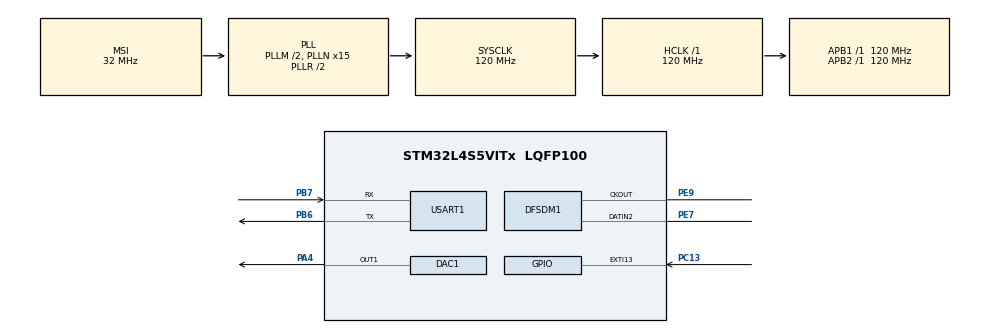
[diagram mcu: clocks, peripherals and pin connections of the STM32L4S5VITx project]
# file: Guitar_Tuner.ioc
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DAC1.DAC_Trigger-DAC_OUT1=DAC_TRIGGER_T2_TRGO
DFSDM1.Divider=20
DFSDM1.DmaMode_reg_FIL2=ENABLE
DFSDM1.FastMode_reg_FIL2=ENABLE
DFSDM1.Filter_regChannel_FIL2=DFSDM_CHANNEL_2
DFSDM1.Filter_regContinuousMode_FIL2=DFSDM_CONTINUOUS_CONV_ON
DFSDM1.Fosr_FIL2=64
DFSDM1.Offset_CH2=0
DFSDM1.RightBitShift_CH2=4
DFSDM1.Selection=DFSDM_CHANNEL_OUTPUT_CLOCK_AUDIO
DFSDM1.SincOrder_FIL2=DFSDM_FILTER_SINC4_ORDER
DFSDM1.Trigger_reg_FIL2=DFSDM_FILTER_SW_TRIGGER
DFSDM1.Type_spi_CH2=DFSDM_CHANNEL_SPI_FALLING
Dma.DAC1_CH1.0.Direction=DMA_MEMORY_TO_PERIPH
Dma.DAC1_CH1.0.EventEnable=DISABLE
Dma.DAC1_CH1.0.Instance=DMA1_Channel1
Dma.DAC1_CH1.0.MemDataAlignment=DMA_MDATAALIGN_WORD
Dma.DAC1_CH1.0.MemInc=DMA_MINC_ENABLE
Dma.DAC1_CH1.0.Mode=DMA_CIRCULAR
Dma.DAC1_CH1.0.PeriphDataAlignment=DMA_PDATAALIGN_HALFWORD
Dma.DAC1_CH1.0.PeriphInc=DMA_PINC_DISABLE
Dma.DAC1_CH1.0.Polarity=HAL_DMAMUX_REQUEST_GEN_RISING
Dma.DAC1_CH1.0.Priority=DMA_PRIORITY_HIGH
Dma.DAC1_CH1.0.RequestNumber=1
Dma.DAC1_CH1.0.SignalID=NONE
Dma.DAC1_CH1.0.SyncEnable=DISABLE
Dma.DAC1_CH1.0.SyncPolarity=HAL_DMAMUX_SYNC_NO_EVENT
Dma.DAC1_CH1.0.SyncRequestNumber=1
Dma.DAC1_CH1.0.SyncSignalID=NONE
Dma.DFSDM1_FLT2.1.Direction=DMA_PERIPH_TO_MEMORY
Dma.DFSDM1_FLT2.1.EventEnable=DISABLE
Dma.DFSDM1_FLT2.1.Instance=DMA1_Channel3
Dma.DFSDM1_FLT2.1.MemDataAlignment=DMA_MDATAALIGN_WORD
Dma.DFSDM1_FLT2.1.MemInc=DMA_MINC_ENABLE
Dma.DFSDM1_FLT2.1.Mode=DMA_NORMAL
Dma.DFSDM1_FLT2.1.PeriphDataAlignment=DMA_PDATAALIGN_WORD
Dma.DFSDM1_FLT2.1.PeriphInc=DMA_PINC_DISABLE
Dma.DFSDM1_FLT2.1.Polarity=HAL_DMAMUX_REQUEST_GEN_RISING
Dma.DFSDM1_FLT2.1.Priority=DMA_PRIORITY_HIGH
Dma.DFSDM1_FLT2.1.RequestNumber=1
Dma.DFSDM1_FLT2.1.SignalID=NONE
Dma.DFSDM1_FLT2.1.SyncEnable=DISABLE
Dma.DFSDM1_FLT2.1.SyncPolarity=HAL_DMAMUX_SYNC_NO_EVENT
Dma.DFSDM1_FLT2.1.SyncRequestNumber=1
Dma.DFSDM1_FLT2.1.SyncSignalID=NONE
Dma.Request0=DAC1_CH1
Dma.Request1=DFSDM1_FLT2
Mcu.Family=STM32L4
Mcu.Name=STM32L4S5VITx
Mcu.Package=LQFP100
NVIC.DFSDM1_FLT2_IRQn=true\:0\:0\:false\:false\:true\:true\:true\:true
NVIC.DMA1_Channel1_IRQn=true\:0\:0\:false\:false\:true\:false\:true\:true
NVIC.DMA1_Channel3_IRQn=true\:0\:0\:false\:false\:true\:false\:true\:true
NVIC.EXTI15_10_IRQn=true\:0\:0\:false\:false\:true\:true\:true\:true
NVIC.PriorityGroup=NVIC_PRIORITYGROUP_4
NVIC.TIM2_IRQn=true\:0\:0\:false\:false\:true\:true\:true\:true
PA4.Signal=COMP_DAC11_group
PB6.Mode=Asynchronous
PB6.Signal=USART1_TX
PB7.Mode=Asynchronous
PB7.Signal=USART1_RX
PC13.GPIO_ModeDefaultEXTI=GPIO_MODE_IT_RISING_FALLING
PC13.Signal=GPXTI13
PE7.Signal=S_DATAIN2DFSDM1
PE9.Signal=S_CKOUTDFSDM1
ProjectManager.HeapSize=0x200
ProjectManager.StackSize=0x400
ProjectManager.TargetToolchain=STM32CubeIDE
RCC.ADCCLockSelection=RCC_ADCCLKSOURCE_SYSCLK
RCC.ADCFreq_Value=120000000
RCC.AHBFreq_Value=120000000
RCC.APB1Freq_Value=120000000
RCC.APB1TimFreq_Value=120000000
RCC.APB2Freq_Value=120000000
RCC.APB2TimFreq_Value=120000000
RCC.CortexFreq_Value=120000000
RCC.DFSDMAudioCLockSelection=RCC_DFSDM1AUDIOCLKSOURCE_SAI1
RCC.HCLKFreq_Value=120000000
RCC.HSE_VALUE=8000000
RCC.HSI48_VALUE=48000000
RCC.HSI_VALUE=16000000
RCC.LSE_VALUE=32768
RCC.MSIClockRange=RCC_MSIRANGE_10
RCC.MSI_VALUE=32000000
RCC.PLLM1=2
RCC.PLLM2=2
RCC.PLLM3=5
RCC.PLLN=15
RCC.PLLSAI1N=15
RCC.PLLSAI2N=48
RCC.PLLSAI2P=RCC_PLLP_DIV5
RCC.SAI1CLockSelection=RCC_SAI1CLKSOURCE_PLLSAI2
RCC.SYSCLKFreq_VALUE=120000000
RCC.SYSCLKSource=RCC_SYSCLKSOURCE_PLLCLK
RCC.USBFreq_Value=120000000
RCC.VCOOutputFreq_Value=240000000
SH.COMP_DAC11_group.0=DAC1_OUT1,DAC_OUT1
SH.S_CKOUTDFSDM1.0=DFSDM1_CKOUT,PDM_SPI_input_from_ch2_and_internal_clock
SH.S_DATAIN2DFSDM1.0=DFSDM1_DATIN2,PDM_SPI_input_from_ch2_and_internal_clock
TIM2.ClockDivision=TIM_CLOCKDIVISION_DIV1
TIM2.Period=2499
TIM2.Prescaler=0
TIM2.TIM_MasterOutputTrigger=TIM_TRGO_UPDATE
USART1.VirtualMode-Asynchronous=VM_ASYNC
VP_TIM2_VS_ClockSourceINT.Mode=Internal
board=B-L4S5I-IOT01A

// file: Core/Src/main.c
/* USER CODE BEGIN Header */
/**
 ******************************************************************************
 * @file           : main.c
 * @brief          : Main program body
 ******************************************************************************
 * @attention
 *
 * Copyright (c) 2024 STMicroelectronics.
 * All rights reserved.
 *
 * This software is licensed under terms that can be found in the LICENSE file
 * in the root directory of this software component.
 * If no LICENSE file comes with this software, it is provided AS-IS.
 *
 ******************************************************************************
 */
/* USER CODE END Header */
#include "main.h"

/* USER CODE BEGIN Includes */
#include "global_header.h"
/* USER CODE END Includes */

DAC_HandleTypeDef hdac1;
DMA_HandleTypeDef hdma_dac1_ch1;

DFSDM_Filter_HandleTypeDef hdfsdm1_filter2;
DFSDM_Channel_HandleTypeDef hdfsdm1_channel2;
DMA_HandleTypeDef hdma_dfsdm1_flt2;

TIM_HandleTypeDef htim2;

UART_HandleTypeDef huart1;

/* USER CODE BEGIN PV */

//Mode definitions
typedef enum {
	MODE_EAR_TUNING,
	MODE_MICROPHONE,
} Mode;

volatile Mode current_mode = MODE_MICROPHONE;// Default mode

//button timers for GPIO input
uint32_t button_press_time = 0;   // Time when the button was pressed
uint32_t button_release_time = 0;  // Time when the button was released

//mic input buffers
#define MIC_REC_SIZE (BUFFER_SIZE + 200)
int32_t mic_rec[MIC_REC_SIZE];	//recording buffer
float32_t mic_out[BUFFER_SIZE]; //processed buffer

//Guitar strings
GuitarString strings[6];
GuitarString *currString;

//Flags for while loops
int bufferFull = 0;	//triggered when MA to the recording buffer is full
int playSound = 0;	//triggered when circular dma for the speaker has to start/change

//UART messages initialization
int UART = 0;
#define MSG_SIZE 100
char msg[MSG_SIZE];
/* USER CODE END PV */

void SystemClock_Config(void);
static void MX_GPIO_Init(void);
static void MX_DMA_Init(void);
static void MX_DAC1_Init(void);
static void MX_TIM2_Init(void);
static void MX_USART1_UART_Init(void);
static void MX_DFSDM1_Init(void);

/* USER CODE BEGIN 0 */

void toggleMode() {
    if (current_mode == MODE_MICROPHONE) {
        // Switch to ear tuning mode

        current_mode = MODE_EAR_TUNING;

        // Stop microphone input processing
        HAL_DFSDM_FilterRegularStop_DMA(&hdfsdm1_filter2);

        playSound = 1;  // Enable sound output for ear tuning

        // Notify the user of the current mode
        sprintf(msg, "Current mode: Ear Tuning\r\n");
        HAL_UART_Transmit(&huart1, (uint8_t*)msg, strlen(msg), HAL_MAX_DELAY);

        // Notify which string is being played
        sprintf(msg, "Playing string %d (%s).\r\n", currString->number, currString->note);
        HAL_UART_Transmit(&huart1, (uint8_t *)msg, strlen(msg), HAL_MAX_DELAY);

    } else {
        // Switch to microphone mode
        current_mode = MODE_MICROPHONE;

        // Notify the user of the current mode
        sprintf(msg, "Current mode: Microphone Tuning\r\n");
        HAL_UART_Transmit(&huart1, (uint8_t*)msg, strlen(msg), HAL_MAX_DELAY);

        bufferFull = 1;  // Reset or signal the buffer state
    }
}

//Called on falling and rising edge of button press (so press down and release)
void HAL_GPIO_EXTI_Callback(uint16_t GPIO_Pin) {
    if (GPIO_Pin == GPIO_PIN_13) {  // Blue button on PC13

        // Check if the button is released
        if (HAL_GPIO_ReadPin(GPIOC, GPIO_PIN_13) == GPIO_PIN_SET) {  // Button is released
            button_release_time = HAL_GetTick();

            // Check if the button was held for at least 1000 ms
            if (button_release_time - button_press_time >= 1000) {
                toggleMode();  // Switch modes when the button is held long enough
            } else {
                // Switch to the next string
                switchString(strings, &currString);

                // Notify the user of the new string
                sprintf(msg, "Switched to String %d (%s).\r\n", currString->number, currString->note);
                HAL_UART_Transmit(&huart1, (uint8_t *)msg, strlen(msg), HAL_MAX_DELAY);

                // Play the sound of the selected string if in ear tuning mode
                if (current_mode == MODE_EAR_TUNING) {
                    playSound = 1;
                }
            }
        } else {  // Button is pressed
            button_press_time = HAL_GetTick();  // Record the time the button was pressed
        }
    }
}

//this is called when the mic recording buffer is filled
void myDMA_XferCpltCallback(DMA_HandleTypeDef *hdma){
	if (hdma == &hdma_dfsdm1_flt2) {  // Check if the DMA is for DFSDM
		bufferFull = 1;
	}
}

/* USER CODE END 0 */

int main(void)
{

  /* MCU Configuration--------------------------------------------------------*/

  /* Reset of all peripherals, Initializes the Flash interface and the Systick. */
  HAL_Init();

  /* Configure the system clock */
  SystemClock_Config();

  /* Initialize all configured peripherals */
  MX_GPIO_Init();
  MX_DMA_Init();
  MX_DAC1_Init();
  MX_TIM2_Init();
  MX_USART1_UART_Init();
  MX_DFSDM1_Init();
  /* USER CODE BEGIN 2 */
	initializeGuitarStrings(strings, &currString);
	HAL_DAC_Start(&hdac1, DAC_CHANNEL_1);
	HAL_TIM_Base_Start_IT(&htim2);
	/* USER CODE END 2 */

  /* Infinite loop */
  /* USER CODE BEGIN WHILE */
	while (1){
		switch (current_mode) {
		    case MODE_EAR_TUNING:
		        // Handle ear tuning mode
		        if (playSound == 1) {
		            // Stop any currently playing sound on DAC channel 1
		            HAL_DAC_Stop_DMA(&hdac1, DAC_CHANNEL_1);

		            // Start playing the sine wave for the current string
		            HAL_DAC_Start_DMA(&hdac1, DAC_CHANNEL_1,
		                               (uint32_t*)sine_samples[currString->number],
		                               1024,
		                               DAC_ALIGN_12B_R);

		            playSound = 0;  // Reset the playSound flag
		        }
		        break;

		    case MODE_MICROPHONE:
		        // Handle microphone mode
		        HAL_DAC_Stop_DMA(&hdac1, DAC_CHANNEL_1);  // Ensure DAC output is stopped

		        if (bufferFull == 1) {
		            // Process microphone data
		            // mic_process sets mic_out[0] to -25 when RMS amplitude is below the threshold
		            mic_process(mic_rec, mic_out, BUFFER_SIZE);

		            // Check if the processed microphone data exceeds the amplitude threshold
		            if (mic_out[0] != -25) {
		                // Detect the frequency using YIN algorithm
		                yin_detect_frequency(mic_out, BUFFER_SIZE, SAMPLE_RATE, currString);

		                // Calculate tuning offset based on the detected frequency
		                calculateTuningOffset(currString, msg, MSG_SIZE);

		                // Transmit the tuning offset or frequency information
		                HAL_UART_Transmit(&huart1, (uint8_t *)msg, strlen(msg), HAL_MAX_DELAY);
		            }

		            // Restart microphone data collection for the next cycle
		            HAL_DFSDM_FilterRegularStop_DMA(&hdfsdm1_filter2);
		            HAL_DFSDM_FilterRegularStart_DMA(&hdfsdm1_filter2, mic_rec, MIC_REC_SIZE);

		            bufferFull = 0;  // Reset the bufferFull flag
		        }
		        break;

		    default:

		        break;
		}

    /* USER CODE END WHILE */

	}
}

void SystemClock_Config(void)
{
  RCC_OscInitTypeDef RCC_OscInitStruct = {0};
  RCC_ClkInitTypeDef RCC_ClkInitStruct = {0};

  /** Configure the main internal regulator output voltage
  */
  if (HAL_PWREx_ControlVoltageScaling(PWR_REGULATOR_VOLTAGE_SCALE1_BOOST) != HAL_OK)
  {
    Error_Handler();
  }

  /** Initializes the RCC Oscillators according to the specified parameters
  * in the RCC_OscInitTypeDef structure.
  */
  RCC_OscInitStruct.OscillatorType = RCC_OSCILLATORTYPE_MSI;
  RCC_OscInitStruct.MSIState = RCC_MSI_ON;
  RCC_OscInitStruct.MSICalibrationValue = 0;
  RCC_OscInitStruct.MSIClockRange = RCC_MSIRANGE_10;
  RCC_OscInitStruct.PLL.PLLState = RCC_PLL_ON;
  RCC_OscInitStruct.PLL.PLLSource = RCC_PLLSOURCE_MSI;
  RCC_OscInitStruct.PLL.PLLM = 2;
  RCC_OscInitStruct.PLL.PLLN = 15;
  RCC_OscInitStruct.PLL.PLLP = RCC_PLLP_DIV2;
  RCC_OscInitStruct.PLL.PLLQ = RCC_PLLQ_DIV2;
  RCC_OscInitStruct.PLL.PLLR = RCC_PLLR_DIV2;
  if (HAL_RCC_OscConfig(&RCC_OscInitStruct) != HAL_OK)
  {
    Error_Handler();
  }

  /** Initializes the CPU, AHB and APB buses clocks
  */
  RCC_ClkInitStruct.ClockType = RCC_CLOCKTYPE_HCLK|RCC_CLOCKTYPE_SYSCLK
                              |RCC_CLOCKTYPE_PCLK1|RCC_CLOCKTYPE_PCLK2;
  RCC_ClkInitStruct.SYSCLKSource = RCC_SYSCLKSOURCE_PLLCLK;
  RCC_ClkInitStruct.AHBCLKDivider = RCC_SYSCLK_DIV1;
  RCC_ClkInitStruct.APB1CLKDivider = RCC_HCLK_DIV1;
  RCC_ClkInitStruct.APB2CLKDivider = RCC_HCLK_DIV1;

  if (HAL_RCC_ClockConfig(&RCC_ClkInitStruct, FLASH_LATENCY_5) != HAL_OK)
  {
    Error_Handler();
  }
}

static void MX_DAC1_Init(void)
{

  DAC_ChannelConfTypeDef sConfig = {0};

  /** DAC Initialization
  */
  hdac1.Instance = DAC1;
  if (HAL_DAC_Init(&hdac1) != HAL_OK)
  {
    Error_Handler();
  }

  /** DAC channel OUT1 config
  */
  sConfig.DAC_SampleAndHold = DAC_SAMPLEANDHOLD_DISABLE;
  sConfig.DAC_Trigger = DAC_TRIGGER_T2_TRGO;
  sConfig.DAC_HighFrequency = DAC_HIGH_FREQUENCY_INTERFACE_MODE_ABOVE_80MHZ;
  sConfig.DAC_OutputBuffer = DAC_OUTPUTBUFFER_ENABLE;
  sConfig.DAC_ConnectOnChipPeripheral = DAC_CHIPCONNECT_DISABLE;
  sConfig.DAC_UserTrimming = DAC_TRIMMING_FACTORY;
  if (HAL_DAC_ConfigChannel(&hdac1, &sConfig, DAC_CHANNEL_1) != HAL_OK)
  {
    Error_Handler();
  }

}

static void MX_DFSDM1_Init(void)
{

  hdfsdm1_filter2.Instance = DFSDM1_Filter2;
  hdfsdm1_filter2.Init.RegularParam.Trigger = DFSDM_FILTER_SW_TRIGGER;
  hdfsdm1_filter2.Init.RegularParam.FastMode = ENABLE;
  hdfsdm1_filter2.Init.RegularParam.DmaMode = ENABLE;
  hdfsdm1_filter2.Init.FilterParam.SincOrder = DFSDM_FILTER_SINC4_ORDER;
  hdfsdm1_filter2.Init.FilterParam.Oversampling = 64;
  hdfsdm1_filter2.Init.FilterParam.IntOversampling = 1;
  if (HAL_DFSDM_FilterInit(&hdfsdm1_filter2) != HAL_OK)
  {
    Error_Handler();
  }
  hdfsdm1_channel2.Instance = DFSDM1_Channel2;
  hdfsdm1_channel2.Init.OutputClock.Activation = ENABLE;
  hdfsdm1_channel2.Init.OutputClock.Selection = DFSDM_CHANNEL_OUTPUT_CLOCK_AUDIO;
  hdfsdm1_channel2.Init.OutputClock.Divider = 20;
  hdfsdm1_channel2.Init.Input.Multiplexer = DFSDM_CHANNEL_EXTERNAL_INPUTS;
  hdfsdm1_channel2.Init.Input.DataPacking = DFSDM_CHANNEL_STANDARD_MODE;
  hdfsdm1_channel2.Init.Input.Pins = DFSDM_CHANNEL_SAME_CHANNEL_PINS;
  hdfsdm1_channel2.Init.SerialInterface.Type = DFSDM_CHANNEL_SPI_FALLING;
  hdfsdm1_channel2.Init.SerialInterface.SpiClock = DFSDM_CHANNEL_SPI_CLOCK_INTERNAL;
  hdfsdm1_channel2.Init.Awd.FilterOrder = DFSDM_CHANNEL_FASTSINC_ORDER;
  hdfsdm1_channel2.Init.Awd.Oversampling = 1;
  hdfsdm1_channel2.Init.Offset = 0;
  hdfsdm1_channel2.Init.RightBitShift = 4;
  if (HAL_DFSDM_ChannelInit(&hdfsdm1_channel2) != HAL_OK)
  {
    Error_Handler();
  }
  if (HAL_DFSDM_FilterConfigRegChannel(&hdfsdm1_filter2, DFSDM_CHANNEL_2, DFSDM_CONTINUOUS_CONV_ON) != HAL_OK)
  {
    Error_Handler();
  }

}

static void MX_TIM2_Init(void)
{

  TIM_ClockConfigTypeDef sClockSourceConfig = {0};
  TIM_MasterConfigTypeDef sMasterConfig = {0};

  htim2.Instance = TIM2;
  htim2.Init.Prescaler = 0;
  htim2.Init.CounterMode = TIM_COUNTERMODE_UP;
  htim2.Init.Period = 2499;
  htim2.Init.ClockDivision = TIM_CLOCKDIVISION_DIV1;
  htim2.Init.AutoReloadPreload = TIM_AUTORELOAD_PRELOAD_DISABLE;
  if (HAL_TIM_Base_Init(&htim2) != HAL_OK)
  {
    Error_Handler();
  }
  sClockSourceConfig.ClockSource = TIM_CLOCKSOURCE_INTERNAL;
  if (HAL_TIM_ConfigClockSource(&htim2, &sClockSourceConfig) != HAL_OK)
  {
    Error_Handler();
  }
  sMasterConfig.MasterOutputTrigger = TIM_TRGO_UPDATE;
  sMasterConfig.MasterSlaveMode = TIM_MASTERSLAVEMODE_DISABLE;
  if (HAL_TIMEx_MasterConfigSynchronization(&htim2, &sMasterConfig) != HAL_OK)
  {
    Error_Handler();
  }

}

static void MX_USART1_UART_Init(void)
{

  huart1.Instance = USART1;
  huart1.Init.BaudRate = 115200;
  huart1.Init.WordLength = UART_WORDLENGTH_8B;
  huart1.Init.StopBits = UART_STOPBITS_1;
  huart1.Init.Parity = UART_PARITY_NONE;
  huart1.Init.Mode = UART_MODE_TX_RX;
  huart1.Init.HwFlowCtl = UART_HWCONTROL_NONE;
  huart1.Init.OverSampling = UART_OVERSAMPLING_16;
  huart1.Init.OneBitSampling = UART_ONE_BIT_SAMPLE_DISABLE;
  huart1.Init.ClockPrescaler = UART_PRESCALER_DIV1;
  huart1.AdvancedInit.AdvFeatureInit = UART_ADVFEATURE_NO_INIT;
  if (HAL_UART_Init(&huart1) != HAL_OK)
  {
    Error_Handler();
  }
  if (HAL_UARTEx_SetTxFifoThreshold(&huart1, UART_TXFIFO_THRESHOLD_1_8) != HAL_OK)
  {
    Error_Handler();
  }
  if (HAL_UARTEx_SetRxFifoThreshold(&huart1, UART_RXFIFO_THRESHOLD_1_8) != HAL_OK)
  {
    Error_Handler();
  }
  if (HAL_UARTEx_DisableFifoMode(&huart1) != HAL_OK)
  {
    Error_Handler();
  }

}

static void MX_DMA_Init(void)
{

  /* DMA controller clock enable */
  __HAL_RCC_DMAMUX1_CLK_ENABLE();
  __HAL_RCC_DMA1_CLK_ENABLE();

  /* DMA interrupt init */
  /* DMA1_Channel1_IRQn interrupt configuration */
  HAL_NVIC_SetPriority(DMA1_Channel1_IRQn, 0, 0);
  HAL_NVIC_EnableIRQ(DMA1_Channel1_IRQn);
  /* DMA1_Channel3_IRQn interrupt configuration */
  HAL_NVIC_SetPriority(DMA1_Channel3_IRQn, 0, 0);
  HAL_NVIC_EnableIRQ(DMA1_Channel3_IRQn);

}

static void MX_GPIO_Init(void)
{
  GPIO_InitTypeDef GPIO_InitStruct = {0};

  /* GPIO Ports Clock Enable */
  __HAL_RCC_GPIOC_CLK_ENABLE();
  __HAL_RCC_GPIOA_CLK_ENABLE();
  __HAL_RCC_GPIOE_CLK_ENABLE();
  __HAL_RCC_GPIOB_CLK_ENABLE();

  /*Configure GPIO pin : PC13 */
  GPIO_InitStruct.Pin = GPIO_PIN_13;
  GPIO_InitStruct.Mode = GPIO_MODE_IT_RISING_FALLING;
  GPIO_InitStruct.Pull = GPIO_NOPULL;
  HAL_GPIO_Init(GPIOC, &GPIO_InitStruct);

  /* EXTI interrupt init*/
  HAL_NVIC_SetPriority(EXTI15_10_IRQn, 0, 0);
  HAL_NVIC_EnableIRQ(EXTI15_10_IRQn);

}

void Error_Handler(void)
{
	__disable_irq();
	while (1)
	{
	}
}
